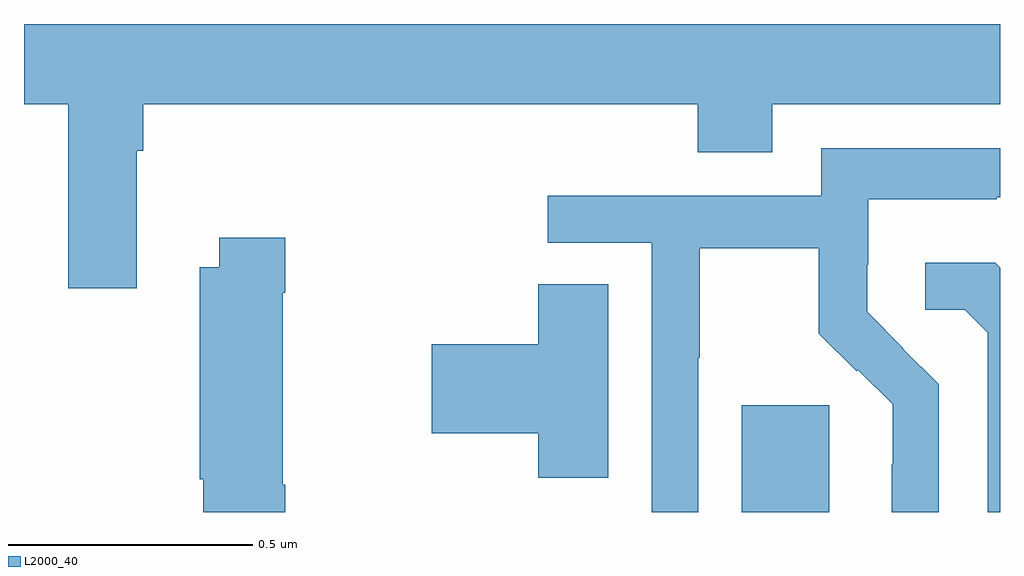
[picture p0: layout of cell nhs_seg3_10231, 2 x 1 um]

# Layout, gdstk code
import gdstk
lib = gdstk.Library(unit=1e-6, precision=1e-09)
def R(c, l, rs):  # rectangles x0, y0, x1, y1
    for r in rs: c.add(gdstk.rectangle(r[:2], r[2:], *l))
def P(c, l, *ps):  # polygons
    for p in ps: c.add(gdstk.Polygon(p, *l))
L2000_40 = (2000, 40)

nhs_seg3_10231 = lib.new_cell('nhs_seg3_10231')
R(nhs_seg3_10231, L2000_40, [(239.471,713.4,239.65,713.619)])
P(nhs_seg3_10231, L2000_40, [(238.231,714.14),(238.244,714.14),(238.244,714.236),(239.381,714.236),(239.381,714.137),(239.533,714.137),(239.533,714.236),(240,714.236),(240,714.4),(238,714.4),(238,714.236),(238.091,714.236),(238.091,713.859),(238.231,713.859)],
  [(239.382,713.716),(239.385,713.716),(239.385,713.94),(239.629,713.94),(239.629,713.765),(239.706,713.688),(239.709,713.691),(239.78,713.621),(239.78,713.498),(239.778,713.498),(239.778,713.4),(239.874,713.4),(239.874,713.662),(239.801,713.735),(239.802,713.736),(239.728,713.81),(239.728,713.907),(239.73,713.907),(239.73,714.041),(239.993,714.041),(239.993,714.045),(240,714.045),(240,714.145),(239.634,714.145),(239.634,714.048),(239.073,714.048),(239.073,713.952),(239.286,713.952),(239.286,713.4),(239.382,713.4)],
  [(238.535,713.456),(238.53,713.456),(238.53,713.849),(238.535,713.849),(238.535,713.962),(238.4,713.962),(238.4,713.902),(238.36,713.902),(238.36,713.467),(238.367,713.467),(238.367,713.4),(238.535,713.4)],
  [(240,713.901),(239.99,713.911),(239.847,713.911),(239.847,713.814),(239.928,713.814),(239.975,713.767),(239.975,713.4),(240,713.4)],
  [(239.197,713.867),(239.054,713.867),(239.054,713.744),(238.836,713.744),(238.836,713.561),(239.054,713.561),(239.054,713.47),(239.197,713.47)])

lib.write_gds('nhs_seg3_10231.gds')
